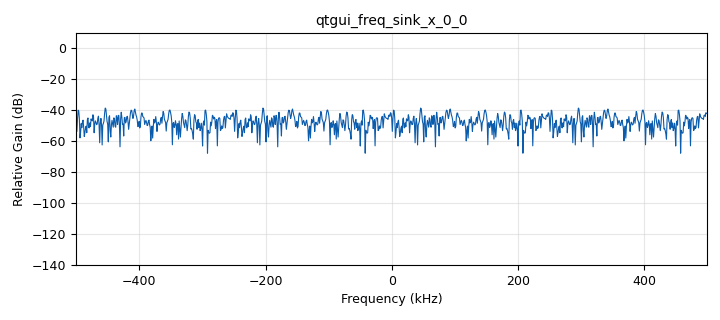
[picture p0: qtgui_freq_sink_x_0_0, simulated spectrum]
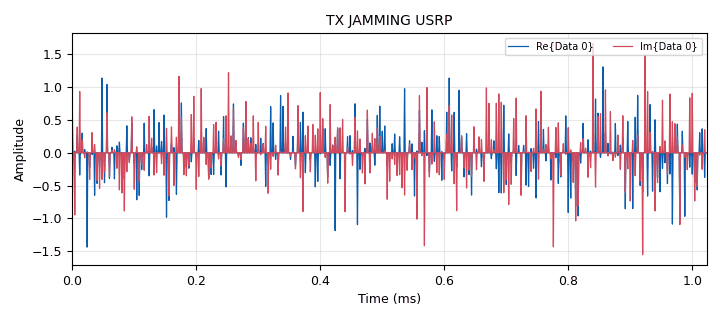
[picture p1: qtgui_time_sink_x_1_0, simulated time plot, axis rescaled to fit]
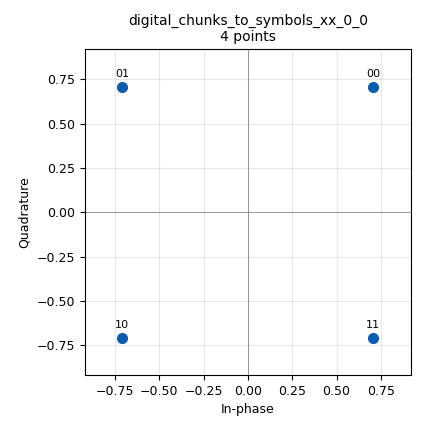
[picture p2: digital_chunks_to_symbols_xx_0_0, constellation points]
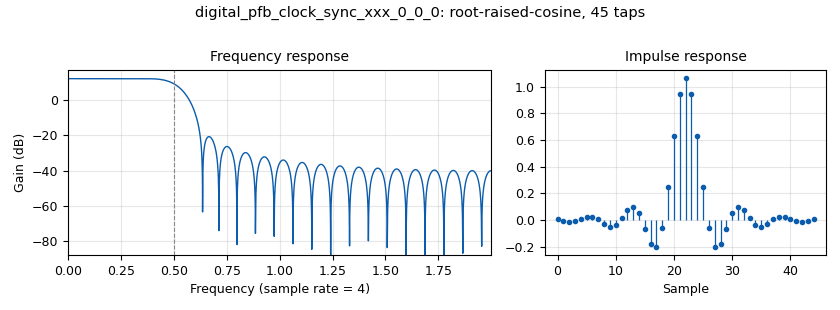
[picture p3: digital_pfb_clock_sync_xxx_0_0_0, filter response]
<?xml version='1.0' encoding='utf-8'?>
<?grc format='1' created='3.7.13'?>
<flow_graph>
<block>
<key>options</key>
<param><key>id</key><value>tutorial_10</value></param>
<param><key>author</key><value>Andre Silva</value></param>
<param><key>generate_options</key><value>qt_gui</value></param>
<param><key>title</key><value>Tutorial</value></param>
</block>
<block>
<key>variable</key>
<param><key>id</key><value>MCR</value></param>
<param><key>value</key><value>"master_clock_rate=60e6"</value></param>
</block>
<block>
<key>variable</key>
<param><key>id</key><value>eb</value></param>
<param><key>value</key><value>0.22</value></param>
</block>
<block>
<key>variable</key>
<param><key>id</key><value>frequencia_usrp</value></param>
<param><key>value</key><value>484e6</value></param>
</block>
<block>
<key>variable</key>
<param><key>id</key><value>k</value></param>
<param><key>value</key><value>7</value></param>
</block>
<block>
<key>variable</key>
<param><key>id</key><value>nfilts</value></param>
<param><key>value</key><value>32</value></param>
</block>
<block>
<key>variable_constellation</key>
<param><key>id</key><value>pld_const</value></param>
<param><key>type</key><value>bpsk</value></param>
<param><key>_enabled</key><value>0</value></param>
<param><key>soft_dec_lut</key><value>'auto'</value></param>
<param><key>precision</key><value>8</value></param>
</block>
<block>
<key>variable_constellation</key>
<param><key>id</key><value>pld_const</value></param>
<param><key>type</key><value>qpsk</value></param>
<param><key>_enabled</key><value>0</value></param>
<param><key>soft_dec_lut</key><value>'auto'</value></param>
<param><key>precision</key><value>8</value></param>
</block>
<block>
<key>variable_constellation</key>
<param><key>id</key><value>pld_const</value></param>
<param><key>const_points</key><value>0.92387+0.38268j, 0.38268+0.92387j,  -0.38268+0.92387j, -0.92387+0.38268j, -0.92387-0.38268j, -0.38268-0.92387j, 0.38268-0.92387j, 0.92387-0.38268j</value></param>
<param><key>type</key><value>calcdist</value></param>
<param><key>dims</key><value>1</value></param>
<param><key>_enabled</key><value>0</value></param>
<param><key>rot_sym</key><value>4</value></param>
<param><key>soft_dec_lut</key><value>'auto'</value></param>
<param><key>precision</key><value>8</value></param>
<param><key>sym_map</key><value>[0, 1, 2, 3, 4, 5, 6, 7]</value></param>
</block>
<block>
<key>variable_constellation_rect</key>
<param><key>id</key><value>pld_const</value></param>
<param><key>const_points</key><value>[0.707+0.707j, -0.707+0.707j, -0.707-0.707j, 0.707-0.707j]</value></param>
<param><key>imag_sect</key><value>2</value></param>
<param><key>real_sect</key><value>2</value></param>
<param><key>rot_sym</key><value>4</value></param>
<param><key>soft_dec_lut</key><value>'auto'</value></param>
<param><key>sym_map</key><value>[0, 1, 2, 3]</value></param>
<param><key>w_imag_sect</key><value>1</value></param>
<param><key>w_real_sect</key><value>1</value></param>
</block>
<block>
<key>variable_cc_decoder_def</key>
<param><key>id</key><value>pld_dec</value></param>
<param><key>padding</key><value>False</value></param>
<param><key>k</key><value>k</value></param>
<param><key>dim1</key><value>8</value></param>
<param><key>state_end</key><value>-1</value></param>
<param><key>framebits</key><value>440</value></param>
<param><key>ndim</key><value>1</value></param>
<param><key>polys</key><value>polys</value></param>
<param><key>rate</key><value>rate</value></param>
<param><key>state_start</key><value>0</value></param>
<param><key>mode</key><value>fec.CC_TERMINATED</value></param>
</block>
<block>
<key>variable_cc_encoder_def</key>
<param><key>id</key><value>pld_enc</value></param>
<param><key>padding</key><value>False</value></param>
<param><key>k</key><value>k</value></param>
<param><key>dim1</key><value>4</value></param>
<param><key>framebits</key><value>440</value></param>
<param><key>ndim</key><value>1</value></param>
<param><key>polys</key><value>polys</value></param>
<param><key>rate</key><value>rate</value></param>
<param><key>state_start</key><value>0</value></param>
<param><key>mode</key><value>fec.CC_TERMINATED</value></param>
</block>
<block>
<key>variable</key>
<param><key>id</key><value>polys</value></param>
<param><key>value</key><value>[109, 79]</value></param>
</block>
<block>
<key>variable</key>
<param><key>id</key><value>rate</value></param>
<param><key>value</key><value>2</value></param>
</block>
<block>
<key>variable_rrc_filter_taps</key>
<param><key>id</key><value>rrc_taps</value></param>
<param><key>alpha</key><value>eb</value></param>
<param><key>gain</key><value>sps</value></param>
<param><key>ntaps</key><value>11*sps</value></param>
<param><key>samp_rate</key><value>sps</value></param>
<param><key>sym_rate</key><value>1.0</value></param>
</block>
<block>
<key>variable_rrc_filter_taps</key>
<param><key>id</key><value>rx_rrc_taps</value></param>
<param><key>_enabled</key><value>0</value></param>
<param><key>alpha</key><value>eb</value></param>
<param><key>gain</key><value>nfilts</value></param>
<param><key>ntaps</key><value>11*sps*nfilts</value></param>
<param><key>samp_rate</key><value>nfilts*sps</value></param>
<param><key>sym_rate</key><value>1.0</value></param>
</block>
<block>
<key>variable_rrc_filter_taps</key>
<param><key>id</key><value>rx_rrc_taps</value></param>
<param><key>_enabled</key><value>0</value></param>
<param><key>alpha</key><value>eb</value></param>
<param><key>gain</key><value>nfilts</value></param>
<param><key>ntaps</key><value>11*sps*nfilts</value></param>
<param><key>samp_rate</key><value>nfilts*sps</value></param>
<param><key>sym_rate</key><value>1.0</value></param>
</block>
<block>
<key>variable</key>
<param><key>id</key><value>samp_rate</value></param>
<param><key>value</key><value>samp_rate_array_MCR[7]</value></param>
</block>
<block>
<key>variable</key>
<param><key>id</key><value>samp_rate_array_MCR</value></param>
<param><key>value</key><value>[7500000,5000000,3750000,3000000,2500000,2000000,1500000,1000000,937500,882352,833333,714285,533333,500000,421052,400000,380952]</value></param>
</block>
<block>
<key>variable</key>
<param><key>id</key><value>sps</value></param>
<param><key>value</key><value>4</value></param>
</block>
<block>
<key>variable_rrc_filter_taps</key>
<param><key>id</key><value>tx_rrc_taps</value></param>
<param><key>_enabled</key><value>0</value></param>
<param><key>alpha</key><value>eb</value></param>
<param><key>gain</key><value>nfilts</value></param>
<param><key>ntaps</key><value>11*sps*nfilts</value></param>
<param><key>samp_rate</key><value>nfilts</value></param>
<param><key>sym_rate</key><value>1.0</value></param>
</block>
<block>
<key>variable_rrc_filter_taps</key>
<param><key>id</key><value>tx_rrc_taps</value></param>
<param><key>_enabled</key><value>0</value></param>
<param><key>alpha</key><value>eb</value></param>
<param><key>gain</key><value>nfilts</value></param>
<param><key>ntaps</key><value>11*sps*nfilts</value></param>
<param><key>samp_rate</key><value>nfilts</value></param>
<param><key>sym_rate</key><value>1.0</value></param>
</block>
<block>
<key>variable_qtgui_entry</key>
<param><key>id</key><value>variable_qtgui_entry_0</value></param>
<param><key>value</key><value>0.7</value></param>
<param><key>label</key><value>mult</value></param>
<param><key>type</key><value>real</value></param>
</block>
<block>
<key>variable_qtgui_range</key>
<param><key>id</key><value>variable_qtgui_range_0</value></param>
<param><key>value</key><value>50</value></param>
<param><key>gui_hint</key><value>0,1</value></param>
<param><key>label</key><value>Gain_TX</value></param>
<param><key>orient</key><value>Qt.Horizontal</value></param>
<param><key>start</key><value>0</value></param>
<param><key>step</key><value>1</value></param>
<param><key>stop</key><value>90</value></param>
</block>
<block>
<key>variable_qtgui_range</key>
<param><key>id</key><value>variable_qtgui_range_0_0</value></param>
<param><key>value</key><value>50</value></param>
<param><key>gui_hint</key><value>0,2</value></param>
<param><key>label</key><value>Gain_Jamming</value></param>
<param><key>orient</key><value>Qt.Horizontal</value></param>
<param><key>start</key><value>0</value></param>
<param><key>step</key><value>1</value></param>
<param><key>stop</key><value>90</value></param>
</block>
<block>
<key>variable_qtgui_range</key>
<param><key>id</key><value>variable_qtgui_range_0_1</value></param>
<param><key>value</key><value>38</value></param>
<param><key>gui_hint</key><value>0,3</value></param>
<param><key>label</key><value>Gain_RX</value></param>
<param><key>orient</key><value>Qt.Horizontal</value></param>
<param><key>start</key><value>0</value></param>
<param><key>step</key><value>1</value></param>
<param><key>stop</key><value>73</value></param>
</block>
<block>
<key>variable_qtgui_range</key>
<param><key>id</key><value>variable_qtgui_range_1</value></param>
<param><key>value</key><value>0</value></param>
<param><key>gui_hint</key><value>0,0</value></param>
<param><key>label</key><value>Delay JAMMING</value></param>
<param><key>min_len</key><value>2000</value></param>
<param><key>orient</key><value>Qt.Horizontal</value></param>
<param><key>start</key><value>0</value></param>
<param><key>step</key><value>1</value></param>
<param><key>stop</key><value>5000</value></param>
<param><key>rangeType</key><value>int</value></param>
</block>
<block>
<key>variable_qtgui_range</key>
<param><key>id</key><value>variable_qtgui_range_1_0</value></param>
<param><key>value</key><value>0</value></param>
<param><key>gui_hint</key><value>1,0</value></param>
<param><key>label</key><value>Delay SIGNAL</value></param>
<param><key>min_len</key><value>2000</value></param>
<param><key>orient</key><value>Qt.Horizontal</value></param>
<param><key>start</key><value>0</value></param>
<param><key>step</key><value>1</value></param>
<param><key>stop</key><value>5000</value></param>
<param><key>rangeType</key><value>int</value></param>
</block>
<block>
<key>variable</key>
<param><key>id</key><value>vector</value></param>
<param><key>value</key><value>[int(random.random()*7) for i in range(49600)]</value></param>
</block>
<block>
<key>blocks_vector_source_x</key>
<param><key>id</key><value>acode_1104</value></param>
<param><key>comment</key><value>64 bits of Access Code +
16 bits of Lenght of the Payload (112 bytes) + 
16 bits of Lenght of the Payload (112 bytes) + 
96 bits of Header</value></param>
<param><key>type</key><value>byte</value></param>
<param><key>repeat</key><value>True</value></param>
<param><key>vector</key><value>[0x1, 0x0, 0x1, 0x0, 0x1, 0x1, 0x0, 0x0, 0x1, 0x1, 0x0, 0x1, 0x1, 0x1, 0x0, 0x1, 0x1, 0x0, 0x1, 0x0, 0x0, 0x1, 0x0, 0x0, 0x1, 0x1, 0x1, 0x0, 0x0, 0x0, 0x1, 0x0, 0x1, 0x1, 0x1, 0x1, 0x0, 0x0, 0x1, 0x0, 0x1, 0x0, 0x0, 0x0, 0x1, 0x1, 0x0, 0x0, 0x0, 0x0, 0x1, 0x0, 0x0, 0x0, 0x0, 0x0, 0x1, 0x1, 0x1, 0x1, 0x1, 0x1, 0x0, 0x0, 0x0, 0x0, 0x0, 0x0, 0x0, 0x0, 0x0, 0x0, 0x0, 0x1, 0x1, 0x1, 0x0, 0x0, 0x0, 0x0, 0x0, 0x0, 0x0, 0x0, 0x0, 0x0, 0x0, 0x0, 0x0, 0x1, 0x1, 0x1, 0x0, 0x0, 0x0, 0x0]</value></param>
</block>
<block>
<key>adapt_lms_filter_xx</key>
<param><key>id</key><value>adapt_lms_filter_xx_0</value></param>
<param><key>adapt</key><value>True</value></param>
<param><key>bypass</key><value>False</value></param>
<param><key>decimation</key><value>1</value></param>
<param><key>filtered_input</key><value>True</value></param>
<param><key>first_input</key><value>True</value></param>
<param><key>num_taps</key><value>64</value></param>
<param><key>reset</key><value>False</value></param>
<param><key>skip</key><value>0</value></param>
<param><key>type</key><value>cc</value></param>
<param><key>mu</key><value>0.001</value></param>
</block>
<block>
<key>analog_fastnoise_source_x</key>
<param><key>id</key><value>analog_fastnoise_source_x_0</value></param>
<param><key>amp</key><value>1</value></param>
<param><key>_enabled</key><value>0</value></param>
<param><key>noise_type</key><value>analog.GR_GAUSSIAN</value></param>
<param><key>type</key><value>complex</value></param>
<param><key>seed</key><value>0</value></param>
<param><key>samples</key><value>8192</value></param>
</block>
<block>
<key>analog_noise_source_x</key>
<param><key>id</key><value>analog_noise_source_x_0</value></param>
<param><key>amp</key><value>1.0</value></param>
<param><key>noise_type</key><value>analog.GR_GAUSSIAN</value></param>
<param><key>type</key><value>complex</value></param>
<param><key>seed</key><value>0</value></param>
</block>
<block>
<key>blocks_char_to_float</key>
<param><key>id</key><value>blocks_char_to_float_1_0_0</value></param>
<param><key>_enabled</key><value>0</value></param>
<param><key>scale</key><value>1</value></param>
</block>
<block>
<key>blocks_char_to_float</key>
<param><key>id</key><value>blocks_char_to_float_1_0_1</value></param>
<param><key>scale</key><value>1</value></param>
</block>
<block>
<key>blocks_char_to_float</key>
<param><key>id</key><value>blocks_char_to_float_1_0_1_0</value></param>
<param><key>_enabled</key><value>0</value></param>
<param><key>scale</key><value>1</value></param>
</block>
<block>
<key>blocks_delay</key>
<param><key>id</key><value>blocks_delay_0_0</value></param>
<param><key>delay</key><value>variable_qtgui_range_1_0</value></param>
<param><key>type</key><value>complex</value></param>
</block>
<block>
<key>blocks_file_sink</key>
<param><key>id</key><value>blocks_file_sink_0_0_0_2</value></param>
<param><key>file</key><value>/home/andre/Desktop/Trasmited/depois.txt</value></param>
<param><key>type</key><value>byte</value></param>
</block>
<block>
<key>blocks_file_source</key>
<param><key>id</key><value>blocks_file_source_0_0_1_0</value></param>
<param><key>file</key><value>/home/andre/Desktop/Files_To_Transmit/trasmit_10_mb.txt</value></param>
<param><key>type</key><value>byte</value></param>
<param><key>repeat</key><value>False</value></param>
</block>
<block>
<key>blocks_file_source</key>
<param><key>id</key><value>blocks_file_source_0_0_1_0_0</value></param>
<param><key>_enabled</key><value>0</value></param>
<param><key>file</key><value>/home/andre/Desktop/Files_To_Transmit/videofhd.mpg</value></param>
<param><key>type</key><value>byte</value></param>
<param><key>repeat</key><value>False</value></param>
</block>
<block>
<key>blocks_file_source</key>
<param><key>id</key><value>blocks_file_source_0_0_1_0_0_0</value></param>
<param><key>_enabled</key><value>0</value></param>
<param><key>file</key><value>/home/andre/Desktop/Files_To_Transmit/video_lion.mpeg</value></param>
<param><key>type</key><value>byte</value></param>
<param><key>repeat</key><value>False</value></param>
</block>
<block>
<key>blocks_multiply_const_vxx</key>
<param><key>id</key><value>blocks_multiply_const_vxx_1</value></param>
<param><key>const</key><value>0.7</value></param>
<param><key>type</key><value>complex</value></param>
</block>
<block>
<key>blocks_multiply_const_vxx</key>
<param><key>id</key><value>blocks_multiply_const_vxx_1_0</value></param>
<param><key>const</key><value>variable_qtgui_entry_0</value></param>
<param><key>type</key><value>complex</value></param>
</block>
<block>
<key>blocks_repack_bits_bb</key>
<param><key>id</key><value>blocks_repack_bits_bb_0</value></param>
<param><key>k</key><value>pld_const.bits_per_symbol()</value></param>
<param><key>l</key><value>1</value></param>
<param><key>endianness</key><value>gr.GR_MSB_FIRST</value></param>
<param><key>len_tag_key</key><value></value></param>
</block>
<block>
<key>blocks_repack_bits_bb</key>
<param><key>id</key><value>blocks_repack_bits_bb_0_0</value></param>
<param><key>k</key><value>1</value></param>
<param><key>l</key><value>8</value></param>
<param><key>endianness</key><value>gr.GR_MSB_FIRST</value></param>
<param><key>len_tag_key</key><value></value></param>
</block>
<block>
<key>blocks_repack_bits_bb</key>
<param><key>id</key><value>blocks_repack_bits_bb_0_0_0</value></param>
<param><key>k</key><value>1</value></param>
<param><key>l</key><value>8</value></param>
<param><key>_enabled</key><value>0</value></param>
<param><key>endianness</key><value>gr.GR_MSB_FIRST</value></param>
<param><key>len_tag_key</key><value></value></param>
</block>
<block>
<key>blocks_repack_bits_bb</key>
<param><key>id</key><value>blocks_repack_bits_bb_0_1</value></param>
<param><key>k</key><value>1</value></param>
<param><key>l</key><value>pld_const.bits_per_symbol()</value></param>
<param><key>endianness</key><value>gr.GR_MSB_FIRST</value></param>
<param><key>len_tag_key</key><value></value></param>
</block>
<block>
<key>blocks_repack_bits_bb</key>
<param><key>id</key><value>blocks_repack_bits_bb_0_2</value></param>
<param><key>k</key><value>pld_const.bits_per_symbol()</value></param>
<param><key>l</key><value>1</value></param>
<param><key>_enabled</key><value>0</value></param>
<param><key>endianness</key><value>gr.GR_MSB_FIRST</value></param>
<param><key>len_tag_key</key><value></value></param>
</block>
<block>
<key>blocks_repack_bits_bb</key>
<param><key>id</key><value>blocks_repack_bits_bb_1_0_0_1</value></param>
<param><key>k</key><value>8</value></param>
<param><key>l</key><value>1</value></param>
<param><key>endianness</key><value>gr.GR_MSB_FIRST</value></param>
<param><key>len_tag_key</key><value></value></param>
</block>
<block>
<key>blocks_stream_mux</key>
<param><key>id</key><value>blocks_stream_mux_0_1_0</value></param>
<param><key>comment</key><value>96 bits of Header + 1104
 (138
 bytes) of payload</value></param>
<param><key>lengths</key><value>96, 896</value></param>
<param><key>type</key><value>byte</value></param>
</block>
<block>
<key>correlate_and_delay_corr_and_delay</key>
<param><key>id</key><value>correlate_and_delay_corr_and_delay_0</value></param>
<param><key>interval</key><value>0</value></param>
<param><key>number_bits</key><value>100</value></param>
<param><key>threshold</key><value>99</value></param>
</block>
<block>
<key>blocks_delay</key>
<param><key>id</key><value>delay</value></param>
<param><key>delay</key><value>variable_qtgui_range_1</value></param>
<param><key>type</key><value>complex</value></param>
</block>
<block>
<key>digital_chunks_to_symbols_xx</key>
<param><key>id</key><value>digital_chunks_to_symbols_xx_0_0</value></param>
<param><key>dimension</key><value>1</value></param>
<param><key>in_type</key><value>byte</value></param>
<param><key>out_type</key><value>complex</value></param>
<param><key>symbol_table</key><value>pld_const.points()</value></param>
</block>
<block>
<key>digital_constellation_decoder_cb</key>
<param><key>id</key><value>digital_constellation_decoder_cb_0_0</value></param>
<param><key>constellation</key><value>pld_const</value></param>
</block>
<block>
<key>digital_constellation_decoder_cb</key>
<param><key>id</key><value>digital_constellation_decoder_cb_0_0_0</value></param>
<param><key>constellation</key><value>pld_const</value></param>
<param><key>_enabled</key><value>0</value></param>
</block>
<block>
<key>digital_correlate_access_code_xx_ts</key>
<param><key>id</key><value>digital_correlate_access_code_xx_ts_0_0</value></param>
<param><key>access_code</key><value>digital.packet_utils.default_access_code</value></param>
<param><key>type</key><value>byte</value></param>
<param><key>tagname</key><value>packet_len</value></param>
<param><key>threshold</key><value>1</value></param>
</block>
<block>
<key>digital_correlate_access_code_xx_ts</key>
<param><key>id</key><value>digital_correlate_access_code_xx_ts_0_0_0</value></param>
<param><key>access_code</key><value>digital.packet_utils.default_access_code</value></param>
<param><key>_enabled</key><value>0</value></param>
<param><key>type</key><value>byte</value></param>
<param><key>tagname</key><value>packet_len</value></param>
<param><key>threshold</key><value>1</value></param>
</block>
<block>
<key>digital_costas_loop_cc</key>
<param><key>id</key><value>digital_costas_loop_cc_0</value></param>
<param><key>w</key><value>6.28/100</value></param>
<param><key>order</key><value>4</value></param>
</block>
<block>
<key>digital_costas_loop_cc</key>
<param><key>id</key><value>digital_costas_loop_cc_0_0</value></param>
<param><key>_enabled</key><value>0</value></param>
<param><key>w</key><value>6.28/100</value></param>
<param><key>order</key><value>4</value></param>
</block>
<block>
<key>digital_costas_loop_cc</key>
<param><key>id</key><value>digital_costas_loop_cc_0_1</value></param>
<param><key>_enabled</key><value>0</value></param>
<param><key>w</key><value>6.28/100</value></param>
<param><key>order</key><value>4</value></param>
</block>
<block>
<key>digital_costas_loop_cc</key>
<param><key>id</key><value>digital_costas_loop_cc_0_2</value></param>
<param><key>_enabled</key><value>0</value></param>
<param><key>w</key><value>6.28/100</value></param>
<param><key>order</key><value>4</value></param>
</block>
<block>
<key>digital_diff_decoder_bb</key>
<param><key>id</key><value>digital_diff_decoder_bb_0</value></param>
<param><key>modulus</key><value>pld_const.arity()</value></param>
</block>
<block>
<key>digital_diff_decoder_bb</key>
<param><key>id</key><value>digital_diff_decoder_bb_0_0</value></param>
<param><key>_enabled</key><value>0</value></param>
<param><key>modulus</key><value>pld_const.arity()</value></param>
</block>
<block>
<key>digital_diff_encoder_bb</key>
<param><key>id</key><value>digital_diff_encoder_bb_0</value></param>
<param><key>modulus</key><value>pld_const.arity()</value></param>
</block>
<block>
<key>digital_pfb_clock_sync_xxx</key>
<param><key>id</key><value>digital_pfb_clock_sync_xxx_0</value></param>
<param><key>comment</key><value>ORIGINAL</value></param>
<param><key>_enabled</key><value>0</value></param>
<param><key>filter_size</key><value>nfilts</value></param>
<param><key>init_phase</key><value>nfilts/2</value></param>
<param><key>loop_bw</key><value>6.28/100.0</value></param>
<param><key>max_dev</key><value>2.5</value></param>
<param><key>osps</key><value>1</value></param>
<param><key>sps</key><value>sps</value></param>
<param><key>taps</key><value>rx_rrc_taps</value></param>
<param><key>type</key><value>ccf</value></param>
</block>
<block>
<key>digital_pfb_clock_sync_xxx</key>
<param><key>id</key><value>digital_pfb_clock_sync_xxx_0_0_0</value></param>
<param><key>filter_size</key><value>sps</value></param>
<param><key>init_phase</key><value>sps/2</value></param>
<param><key>loop_bw</key><value>6.28/100.0</value></param>
<param><key>max_dev</key><value>1.5</value></param>
<param><key>osps</key><value>1</value></param>
<param><key>sps</key><value>sps</value></param>
<param><key>taps</key><value>rrc_taps</value></param>
<param><key>type</key><value>ccf</value></param>
</block>
<block>
<key>digital_pfb_clock_sync_xxx</key>
<param><key>id</key><value>digital_pfb_clock_sync_xxx_0_0_0_0</value></param>
<param><key>_enabled</key><value>0</value></param>
<param><key>filter_size</key><value>sps</value></param>
<param><key>init_phase</key><value>sps/2</value></param>
<param><key>loop_bw</key><value>6.28/100.0</value></param>
<param><key>max_dev</key><value>1.5</value></param>
<param><key>osps</key><value>1</value></param>
<param><key>sps</key><value>sps</value></param>
<param><key>taps</key><value>rrc_taps</value></param>
<param><key>type</key><value>ccf</value></param>
</block>
<block>
<key>import</key>
<param><key>id</key><value>import_0</value></param>
<param><key>import</key><value>import random</value></param>
</block>
<block>
<key>insert_vec_cpp_new_vec</key>
<param><key>id</key><value>insert_vec_cpp_new_vec_0</value></param>
<param><key>vec</key><value>vector</value></param>
</block>
<block>
<key>interp_fir_filter_xxx</key>
<param><key>id</key><value>interp_fir_filter_xxx_0</value></param>
<param><key>interp</key><value>sps</value></param>
<param><key>taps</key><value>rrc_taps</value></param>
<param><key>type</key><value>ccc</value></param>
</block>
<block>
<key>interp_fir_filter_xxx</key>
<param><key>id</key><value>interp_fir_filter_xxx_1</value></param>
<param><key>interp</key><value>4</value></param>
<param><key>taps</key><value>[1]</value></param>
<param><key>type</key><value>ccc</value></param>
</block>
<block>
<key>pfb_arb_resampler_xxx</key>
<param><key>id</key><value>pfb_arb_resampler_xxx_0</value></param>
<param><key>comment</key><value>https://wiki.gnuradio.org/index.php/Polyphase_Arbitrary_Resampler</value></param>
<param><key>_enabled</key><value>0</value></param>
<param><key>nfilts</key><value>nfilts</value></param>
<param><key>rrate</key><value>sps</value></param>
<param><key>atten</key><value>100</value></param>
<param><key>taps</key><value>tx_rrc_taps</value></param>
<param><key>type</key><value>ccc</value></param>
</block>
<block>
<key>parameter</key>
<param><key>id</key><value>puncpat</value></param>
<param><key>type</key><value>string</value></param>
<param><key>value</key><value>'11'</value></param>
</block>
<block>
<key>qtgui_const_sink_x</key>
<param><key>id</key><value>qtgui_const_sink_x_0_0_0_0</value></param>
<param><key>gui_hint</key><value>1,1</value></param>
<param><key>name</key><value>"TX Constellation"</value></param>
<param><key>size</key><value>1024</value></param>
<param><key>type</key><value>complex</value></param>
</block>
<block>
<key>qtgui_const_sink_x</key>
<param><key>id</key><value>qtgui_const_sink_x_0_0_0_1_0</value></param>
<param><key>gui_hint</key><value>2,2</value></param>
<param><key>name</key><value>"RX Treated Constellation"</value></param>
<param><key>size</key><value>1024</value></param>
<param><key>type</key><value>complex</value></param>
</block>
<block>
<key>qtgui_const_sink_x</key>
<param><key>id</key><value>qtgui_const_sink_x_0_0_0_1_0_0</value></param>
<param><key>_enabled</key><value>0</value></param>
<param><key>gui_hint</key><value>2,1</value></param>
<param><key>label1</key><value>Ouput</value></param>
<param><key>label2</key><value>Erro</value></param>
<param><key>name</key><value>"RX Compare Constellation"</value></param>
<param><key>nconnections</key><value>2</value></param>
<param><key>size</key><value>1024</value></param>
<param><key>type</key><value>complex</value></param>
</block>
<block>
<key>qtgui_const_sink_x</key>
<param><key>id</key><value>qtgui_const_sink_x_0_0_0_1_0_1</value></param>
<param><key>_enabled</key><value>0</value></param>
<param><key>gui_hint</key><value>4,2</value></param>
<param><key>name</key><value>"RX Treated Constellation"</value></param>
<param><key>size</key><value>1024</value></param>
<param><key>type</key><value>complex</value></param>
</block>
<block>
<key>qtgui_freq_sink_x</key>
<param><key>id</key><value>qtgui_freq_sink_x_0</value></param>
<param><key>bw</key><value>samp_rate</value></param>
<param><key>fc</key><value>0</value></param>
<param><key>_enabled</key><value>0</value></param>
<param><key>fftsize</key><value>1024</value></param>
<param><key>showports</key><value>True</value></param>
<param><key>type</key><value>complex</value></param>
<param><key>wintype</key><value>firdes.WIN_BLACKMAN_hARRIS</value></param>
</block>
<block>
<key>qtgui_freq_sink_x</key>
<param><key>id</key><value>qtgui_freq_sink_x_0_0</value></param>
<param><key>bw</key><value>samp_rate</value></param>
<param><key>fc</key><value>0</value></param>
<param><key>fftsize</key><value>1024</value></param>
<param><key>gui_hint</key><value>10,2</value></param>
<param><key>showports</key><value>True</value></param>
<param><key>type</key><value>complex</value></param>
<param><key>wintype</key><value>firdes.WIN_BLACKMAN_hARRIS</value></param>
</block>
<block>
<key>qtgui_freq_sink_x</key>
<param><key>id</key><value>qtgui_freq_sink_x_0_0_1</value></param>
<param><key>bw</key><value>samp_rate</value></param>
<param><key>fc</key><value>0</value></param>
<param><key>fftsize</key><value>1024</value></param>
<param><key>gui_hint</key><value>5,1,1,3</value></param>
<param><key>label1</key><value>After chunks to symbols</value></param>
<param><key>label2</key><value>after out lms</value></param>
<param><key>nconnections</key><value>2</value></param>
<param><key>showports</key><value>True</value></param>
<param><key>type</key><value>complex</value></param>
<param><key>wintype</key><value>firdes.WIN_BLACKMAN_hARRIS</value></param>
</block>
<block>
<key>qtgui_freq_sink_x</key>
<param><key>id</key><value>qtgui_freq_sink_x_1</value></param>
<param><key>bw</key><value>samp_rate</value></param>
<param><key>fc</key><value>0</value></param>
<param><key>_enabled</key><value>0</value></param>
<param><key>fftsize</key><value>1024</value></param>
<param><key>gui_hint</key><value>4,1,1,3</value></param>
<param><key>color1</key><value>"black"</value></param>
<param><key>label1</key><value>OUT</value></param>
<param><key>label2</key><value>ERROR</value></param>
<param><key>nconnections</key><value>2</value></param>
<param><key>showports</key><value>True</value></param>
<param><key>type</key><value>complex</value></param>
<param><key>wintype</key><value>firdes.WIN_BLACKMAN_hARRIS</value></param>
</block>
<block>
<key>qtgui_freq_sink_x</key>
<param><key>id</key><value>qtgui_freq_sink_x_2</value></param>
<param><key>bw</key><value>samp_rate</value></param>
<param><key>fc</key><value>0</value></param>
<param><key>fftsize</key><value>1024</value></param>
<param><key>gui_hint</key><value>20,1</value></param>
<param><key>showports</key><value>True</value></param>
<param><key>type</key><value>complex</value></param>
<param><key>wintype</key><value>firdes.WIN_BLACKMAN_hARRIS</value></param>
</block>
<block>
<key>qtgui_time_sink_x</key>
<param><key>id</key><value>qtgui_time_sink_x_0_0</value></param>
<param><key>_enabled</key><value>0</value></param>
<param><key>gui_hint</key><value>1,1</value></param>
<param><key>grid</key><value>True</value></param>
<param><key>color1</key><value>"blue"</value></param>
<param><key>label1</key><value></value></param>
<param><key>name</key><value>Tx Data</value></param>
<param><key>size</key><value>100*2</value></param>
<param><key>srate</key><value>samp_rate</value></param>
<param><key>tr_tag</key><value>packet_length_tag_key</value></param>
<param><key>type</key><value>float</value></param>
<param><key>ymax</key><value>256</value></param>
</block>
<block>
<key>qtgui_time_sink_x</key>
<param><key>id</key><value>qtgui_time_sink_x_0_1</value></param>
<param><key>autoscale</key><value>True</value></param>
<param><key>gui_hint</key><value>2,3</value></param>
<param><key>grid</key><value>True</value></param>
<param><key>color1</key><value>"blue"</value></param>
<param><key>label1</key><value></value></param>
<param><key>name</key><value>Rx Data</value></param>
<param><key>size</key><value>100*2</value></param>
<param><key>srate</key><value>samp_rate</value></param>
<param><key>tr_tag</key><value>packet_length_tag_key</value></param>
<param><key>type</key><value>float</value></param>
<param><key>ymax</key><value>256</value></param>
</block>
<block>
<key>qtgui_time_sink_x</key>
<param><key>id</key><value>qtgui_time_sink_x_0_1_0</value></param>
<param><key>autoscale</key><value>True</value></param>
<param><key>_enabled</key><value>0</value></param>
<param><key>gui_hint</key><value>4,3</value></param>
<param><key>grid</key><value>True</value></param>
<param><key>color1</key><value>"blue"</value></param>
<param><key>label1</key><value></value></param>
<param><key>name</key><value>Rx Data SEM LMS</value></param>
<param><key>size</key><value>100*2</value></param>
<param><key>srate</key><value>samp_rate</value></param>
<param><key>tr_tag</key><value>packet_length_tag_key</value></param>
<param><key>type</key><value>float</value></param>
<param><key>ymax</key><value>256</value></param>
</block>
<block>
<key>qtgui_time_sink_x</key>
<param><key>id</key><value>qtgui_time_sink_x_1</value></param>
<param><key>gui_hint</key><value>1,2</value></param>
<param><key>color1</key><value>"blue"</value></param>
<param><key>label1</key><value></value></param>
<param><key>color2</key><value>"red"</value></param>
<param><key>label2</key><value></value></param>
<param><key>name</key><value>"TX DATA USRP"</value></param>
<param><key>size</key><value>1024</value></param>
<param><key>srate</key><value>samp_rate</value></param>
<param><key>type</key><value>complex</value></param>
</block>
<block>
<key>qtgui_time_sink_x</key>
<param><key>id</key><value>qtgui_time_sink_x_1_0</value></param>
<param><key>gui_hint</key><value>1,3</value></param>
<param><key>color1</key><value>"blue"</value></param>
<param><key>label1</key><value></value></param>
<param><key>color2</key><value>"red"</value></param>
<param><key>label2</key><value></value></param>
<param><key>name</key><value>"TX JAMMING USRP"</value></param>
<param><key>size</key><value>1024</value></param>
<param><key>srate</key><value>samp_rate</value></param>
<param><key>type</key><value>complex</value></param>
</block>
<block>
<key>qtgui_time_sink_x</key>
<param><key>id</key><value>qtgui_time_sink_x_1_1</value></param>
<param><key>gui_hint</key><value>2,1</value></param>
<param><key>color1</key><value>"blue"</value></param>
<param><key>label1</key><value></value></param>
<param><key>color2</key><value>"red"</value></param>
<param><key>label2</key><value></value></param>
<param><key>name</key><value>"RX USRP"</value></param>
<param><key>size</key><value>1024</value></param>
<param><key>srate</key><value>samp_rate</value></param>
<param><key>type</key><value>complex</value></param>
</block>
<block>
<key>uhd_usrp_sink</key>
<param><key>id</key><value>uhd_usrp_sink_0</value></param>
<param><key>ant0</key><value>TX/RX</value></param>
<param><key>center_freq0</key><value>frequencia_usrp</value></param>
<param><key>norm_gain0</key><value>False</value></param>
<param><key>gain0</key><value>variable_qtgui_range_0_0</value></param>
<param><key>clock_rate</key><value>0.0</value></param>
<param><key>dev_addr</key><value>"serial=F5EAC0"</value></param>
<param><key>dev_args</key><value>""</value></param>
<param><key>type</key><value>fc32</value></param>
<param><key>samp_rate</key><value>samp_rate</value></param>
<param><key>hide_cmd_port</key><value>False</value></param>
<param><key>hide_lo_controls</key><value>True</value></param>
<param><key>sync</key><value>pc_clock</value></param>
<param><key>len_tag_name</key><value></value></param>
</block>
<block>
<key>uhd_usrp_sink</key>
<param><key>id</key><value>uhd_usrp_sink_0_0</value></param>
<param><key>ant0</key><value>TX/RX</value></param>
<param><key>center_freq0</key><value>frequencia_usrp</value></param>
<param><key>norm_gain0</key><value>False</value></param>
<param><key>gain0</key><value>variable_qtgui_range_0</value></param>
<param><key>clock_rate</key><value>0.0</value></param>
<param><key>dev_addr</key><value>"serial=F5EAE1"</value></param>
<param><key>dev_args</key><value>MCR</value></param>
<param><key>type</key><value>fc32</value></param>
<param><key>samp_rate</key><value>samp_rate</value></param>
<param><key>hide_cmd_port</key><value>False</value></param>
<param><key>hide_lo_controls</key><value>True</value></param>
<param><key>sync</key><value>pc_clock</value></param>
<param><key>len_tag_name</key><value></value></param>
</block>
<block>
<key>uhd_usrp_source</key>
<param><key>id</key><value>uhd_usrp_source_0</value></param>
<param><key>ant0</key><value>RX2</value></param>
<param><key>center_freq0</key><value>frequencia_usrp</value></param>
<param><key>dc_offs_enb0</key><value>True</value></param>
<param><key>iq_imbal_enb0</key><value>True</value></param>
<param><key>norm_gain0</key><value>False</value></param>
<param><key>gain0</key><value>variable_qtgui_range_0_1</value></param>
<param><key>clock_rate</key><value>0.0</value></param>
<param><key>dev_addr</key><value>"serial=F5EAC0"</value></param>
<param><key>dev_args</key><value>MCR</value></param>
<param><key>type</key><value>fc32</value></param>
<param><key>samp_rate</key><value>samp_rate</value></param>
<param><key>hide_cmd_port</key><value>False</value></param>
<param><key>hide_lo_controls</key><value>True</value></param>
<param><key>sync</key><value>pc_clock</value></param>
</block>
<block>
<key>virtual_sink</key>
<param><key>id</key><value>virtual_sink_0</value></param>
<param><key>_enabled</key><value>0</value></param>
<param><key>stream_id</key><value>signal</value></param>
</block>
<block>
<key>virtual_sink</key>
<param><key>id</key><value>virtual_sink_1</value></param>
<param><key>stream_id</key><value>packet</value></param>
</block>
<block>
<key>virtual_sink</key>
<param><key>id</key><value>virtual_sink_2</value></param>
<param><key>stream_id</key><value>data_treated</value></param>
</block>
<block>
<key>virtual_sink</key>
<param><key>id</key><value>virtual_sink_3</value></param>
<param><key>stream_id</key><value>packet_recived</value></param>
</block>
<block>
<key>virtual_source</key>
<param><key>id</key><value>virtual_source_1</value></param>
<param><key>stream_id</key><value>packet</value></param>
</block>
<block>
<key>virtual_source</key>
<param><key>id</key><value>virtual_source_2</value></param>
<param><key>stream_id</key><value>data_treated</value></param>
</block>
<block>
<key>virtual_source</key>
<param><key>id</key><value>virtual_source_3</value></param>
<param><key>stream_id</key><value>packet_recived</value></param>
</block>
<connection><source_block_id>acode_1104</source_block_id><sink_block_id>blocks_stream_mux_0_1_0</sink_block_id><source_key>0</source_key><sink_key>0</sink_key></connection>
<connection><source_block_id>adapt_lms_filter_xx_0</source_block_id><sink_block_id>digital_pfb_clock_sync_xxx_0_0_0</sink_block_id><source_key>1</source_key><sink_key>0</sink_key></connection>
<connection><source_block_id>adapt_lms_filter_xx_0</source_block_id><sink_block_id>digital_costas_loop_cc_0_0</sink_block_id><source_key>0</source_key><sink_key>0</sink_key></connection>
<connection><source_block_id>adapt_lms_filter_xx_0</source_block_id><sink_block_id>qtgui_freq_sink_x_2</sink_block_id><source_key>0</source_key><sink_key>0</sink_key></connection>
<connection><source_block_id>analog_fastnoise_source_x_0</source_block_id><sink_block_id>interp_fir_filter_xxx_1</sink_block_id><source_key>0</source_key><sink_key>0</sink_key></connection>
<connection><source_block_id>analog_noise_source_x_0</source_block_id><sink_block_id>interp_fir_filter_xxx_1</sink_block_id><source_key>0</source_key><sink_key>0</sink_key></connection>
<connection><source_block_id>blocks_char_to_float_1_0_0</source_block_id><sink_block_id>qtgui_time_sink_x_0_0</sink_block_id><source_key>0</source_key><sink_key>0</sink_key></connection>
<connection><source_block_id>blocks_char_to_float_1_0_1</source_block_id><sink_block_id>qtgui_time_sink_x_0_1</sink_block_id><source_key>0</source_key><sink_key>0</sink_key></connection>
<connection><source_block_id>blocks_char_to_float_1_0_1_0</source_block_id><sink_block_id>qtgui_time_sink_x_0_1_0</sink_block_id><source_key>0</source_key><sink_key>0</sink_key></connection>
<connection><source_block_id>blocks_delay_0_0</source_block_id><sink_block_id>correlate_and_delay_corr_and_delay_0</sink_block_id><source_key>0</source_key><sink_key>1</sink_key></connection>
<connection><source_block_id>blocks_file_source_0_0_1_0</source_block_id><sink_block_id>blocks_char_to_float_1_0_0</sink_block_id><source_key>0</source_key><sink_key>0</sink_key></connection>
<connection><source_block_id>blocks_file_source_0_0_1_0</source_block_id><sink_block_id>blocks_repack_bits_bb_1_0_0_1</sink_block_id><source_key>0</source_key><sink_key>0</sink_key></connection>
<connection><source_block_id>blocks_file_source_0_0_1_0_0</source_block_id><sink_block_id>blocks_char_to_float_1_0_0</sink_block_id><source_key>0</source_key><sink_key>0</sink_key></connection>
<connection><source_block_id>blocks_file_source_0_0_1_0_0</source_block_id><sink_block_id>blocks_repack_bits_bb_1_0_0_1</sink_block_id><source_key>0</source_key><sink_key>0</sink_key></connection>
<connection><source_block_id>blocks_file_source_0_0_1_0_0_0</source_block_id><sink_block_id>blocks_char_to_float_1_0_0</sink_block_id><source_key>0</source_key><sink_key>0</sink_key></connection>
<connection><source_block_id>blocks_file_source_0_0_1_0_0_0</source_block_id><sink_block_id>blocks_repack_bits_bb_1_0_0_1</sink_block_id><source_key>0</source_key><sink_key>0</sink_key></connection>
<connection><source_block_id>blocks_multiply_const_vxx_1</source_block_id><sink_block_id>qtgui_const_sink_x_0_0_0_0</sink_block_id><source_key>0</source_key><sink_key>0</sink_key></connection>
<connection><source_block_id>blocks_multiply_const_vxx_1</source_block_id><sink_block_id>qtgui_freq_sink_x_0</sink_block_id><source_key>0</source_key><sink_key>0</sink_key></connection>
<connection><source_block_id>blocks_multiply_const_vxx_1</source_block_id><sink_block_id>qtgui_time_sink_x_1</sink_block_id><source_key>0</source_key><sink_key>0</sink_key></connection>
<connection><source_block_id>blocks_multiply_const_vxx_1</source_block_id><sink_block_id>uhd_usrp_sink_0_0</sink_block_id><source_key>0</source_key><sink_key>0</sink_key></connection>
<connection><source_block_id>blocks_multiply_const_vxx_1</source_block_id><sink_block_id>virtual_sink_0</sink_block_id><source_key>0</source_key><sink_key>0</sink_key></connection>
<connection><source_block_id>blocks_multiply_const_vxx_1_0</source_block_id><sink_block_id>delay</sink_block_id><source_key>0</source_key><sink_key>0</sink_key></connection>
<connection><source_block_id>blocks_multiply_const_vxx_1_0</source_block_id><sink_block_id>qtgui_freq_sink_x_0_0</sink_block_id><source_key>0</source_key><sink_key>0</sink_key></connection>
<connection><source_block_id>blocks_multiply_const_vxx_1_0</source_block_id><sink_block_id>qtgui_time_sink_x_1_0</sink_block_id><source_key>0</source_key><sink_key>0</sink_key></connection>
<connection><source_block_id>blocks_multiply_const_vxx_1_0</source_block_id><sink_block_id>uhd_usrp_sink_0</sink_block_id><source_key>0</source_key><sink_key>0</sink_key></connection>
<connection><source_block_id>blocks_repack_bits_bb_0</source_block_id><sink_block_id>digital_correlate_access_code_xx_ts_0_0</sink_block_id><source_key>0</source_key><sink_key>0</sink_key></connection>
<connection><source_block_id>blocks_repack_bits_bb_0_0</source_block_id><sink_block_id>blocks_char_to_float_1_0_1</sink_block_id><source_key>0</source_key><sink_key>0</sink_key></connection>
<connection><source_block_id>blocks_repack_bits_bb_0_0</source_block_id><sink_block_id>blocks_file_sink_0_0_0_2</sink_block_id><source_key>0</source_key><sink_key>0</sink_key></connection>
<connection><source_block_id>blocks_repack_bits_bb_0_0_0</source_block_id><sink_block_id>blocks_char_to_float_1_0_1_0</sink_block_id><source_key>0</source_key><sink_key>0</sink_key></connection>
<connection><source_block_id>blocks_repack_bits_bb_0_1</source_block_id><sink_block_id>insert_vec_cpp_new_vec_0</sink_block_id><source_key>0</source_key><sink_key>0</sink_key></connection>
<connection><source_block_id>blocks_repack_bits_bb_0_2</source_block_id><sink_block_id>digital_correlate_access_code_xx_ts_0_0_0</sink_block_id><source_key>0</source_key><sink_key>0</sink_key></connection>
<connection><source_block_id>blocks_repack_bits_bb_1_0_0_1</source_block_id><sink_block_id>blocks_stream_mux_0_1_0</sink_block_id><source_key>0</source_key><sink_key>1</sink_key></connection>
<connection><source_block_id>blocks_stream_mux_0_1_0</source_block_id><sink_block_id>virtual_sink_1</sink_block_id><source_key>0</source_key><sink_key>0</sink_key></connection>
<connection><source_block_id>correlate_and_delay_corr_and_delay_0</source_block_id><sink_block_id>adapt_lms_filter_xx_0</sink_block_id><source_key>0</source_key><sink_key>1</sink_key></connection>
<connection><source_block_id>correlate_and_delay_corr_and_delay_0</source_block_id><sink_block_id>adapt_lms_filter_xx_0</sink_block_id><source_key>1</source_key><sink_key>0</sink_key></connection>
<connection><source_block_id>delay</source_block_id><sink_block_id>correlate_and_delay_corr_and_delay_0</sink_block_id><source_key>0</source_key><sink_key>0</sink_key></connection>
<connection><source_block_id>digital_chunks_to_symbols_xx_0_0</source_block_id><sink_block_id>interp_fir_filter_xxx_0</sink_block_id><source_key>0</source_key><sink_key>0</sink_key></connection>
<connection><source_block_id>digital_chunks_to_symbols_xx_0_0</source_block_id><sink_block_id>pfb_arb_resampler_xxx_0</sink_block_id><source_key>0</source_key><sink_key>0</sink_key></connection>
<connection><source_block_id>digital_chunks_to_symbols_xx_0_0</source_block_id><sink_block_id>qtgui_freq_sink_x_0_0_1</sink_block_id><source_key>0</source_key><sink_key>0</sink_key></connection>
<connection><source_block_id>digital_constellation_decoder_cb_0_0</source_block_id><sink_block_id>virtual_sink_2</sink_block_id><source_key>0</source_key><sink_key>0</sink_key></connection>
<connection><source_block_id>digital_constellation_decoder_cb_0_0_0</source_block_id><sink_block_id>digital_diff_decoder_bb_0_0</sink_block_id><source_key>0</source_key><sink_key>0</sink_key></connection>
<connection><source_block_id>digital_correlate_access_code_xx_ts_0_0</source_block_id><sink_block_id>virtual_sink_3</sink_block_id><source_key>0</source_key><sink_key>0</sink_key></connection>
<connection><source_block_id>digital_correlate_access_code_xx_ts_0_0_0</source_block_id><sink_block_id>blocks_repack_bits_bb_0_0_0</sink_block_id><source_key>0</source_key><sink_key>0</sink_key></connection>
<connection><source_block_id>digital_costas_loop_cc_0</source_block_id><sink_block_id>digital_constellation_decoder_cb_0_0</sink_block_id><source_key>0</source_key><sink_key>0</sink_key></connection>
<connection><source_block_id>digital_costas_loop_cc_0</source_block_id><sink_block_id>qtgui_const_sink_x_0_0_0_1_0</sink_block_id><source_key>0</source_key><sink_key>0</sink_key></connection>
<connection><source_block_id>digital_costas_loop_cc_0</source_block_id><sink_block_id>qtgui_freq_sink_x_0_0_1</sink_block_id><source_key>0</source_key><sink_key>1</sink_key></connection>
<connection><source_block_id>digital_costas_loop_cc_0_0</source_block_id><sink_block_id>qtgui_const_sink_x_0_0_0_1_0_0</sink_block_id><source_key>0</source_key><sink_key>1</sink_key></connection>
<connection><source_block_id>digital_costas_loop_cc_0_0</source_block_id><sink_block_id>qtgui_freq_sink_x_1</sink_block_id><source_key>0</source_key><sink_key>1</sink_key></connection>
<connection><source_block_id>digital_costas_loop_cc_0_1</source_block_id><sink_block_id>qtgui_const_sink_x_0_0_0_1_0_0</sink_block_id><source_key>0</source_key><sink_key>0</sink_key></connection>
<connection><source_block_id>digital_costas_loop_cc_0_1</source_block_id><sink_block_id>qtgui_freq_sink_x_1</sink_block_id><source_key>0</source_key><sink_key>0</sink_key></connection>
<connection><source_block_id>digital_costas_loop_cc_0_2</source_block_id><sink_block_id>digital_constellation_decoder_cb_0_0_0</sink_block_id><source_key>0</source_key><sink_key>0</sink_key></connection>
<connection><source_block_id>digital_costas_loop_cc_0_2</source_block_id><sink_block_id>qtgui_const_sink_x_0_0_0_1_0_1</sink_block_id><source_key>0</source_key><sink_key>0</sink_key></connection>
<connection><source_block_id>digital_diff_decoder_bb_0</source_block_id><sink_block_id>blocks_repack_bits_bb_0</sink_block_id><source_key>0</source_key><sink_key>0</sink_key></connection>
<connection><source_block_id>digital_diff_decoder_bb_0_0</source_block_id><sink_block_id>blocks_repack_bits_bb_0_2</sink_block_id><source_key>0</source_key><sink_key>0</sink_key></connection>
<connection><source_block_id>digital_diff_encoder_bb_0</source_block_id><sink_block_id>digital_chunks_to_symbols_xx_0_0</sink_block_id><source_key>0</source_key><sink_key>0</sink_key></connection>
<connection><source_block_id>digital_pfb_clock_sync_xxx_0</source_block_id><sink_block_id>adapt_lms_filter_xx_0</sink_block_id><source_key>0</source_key><sink_key>0</sink_key></connection>
<connection><source_block_id>digital_pfb_clock_sync_xxx_0_0_0</source_block_id><sink_block_id>digital_costas_loop_cc_0</sink_block_id><source_key>0</source_key><sink_key>0</sink_key></connection>
<connection><source_block_id>digital_pfb_clock_sync_xxx_0_0_0_0</source_block_id><sink_block_id>digital_costas_loop_cc_0_2</sink_block_id><source_key>0</source_key><sink_key>0</sink_key></connection>
<connection><source_block_id>insert_vec_cpp_new_vec_0</source_block_id><sink_block_id>digital_diff_encoder_bb_0</sink_block_id><source_key>0</source_key><sink_key>0</sink_key></connection>
<connection><source_block_id>interp_fir_filter_xxx_0</source_block_id><sink_block_id>blocks_multiply_const_vxx_1</sink_block_id><source_key>0</source_key><sink_key>0</sink_key></connection>
<connection><source_block_id>interp_fir_filter_xxx_1</source_block_id><sink_block_id>blocks_multiply_const_vxx_1_0</sink_block_id><source_key>0</source_key><sink_key>0</sink_key></connection>
<connection><source_block_id>pfb_arb_resampler_xxx_0</source_block_id><sink_block_id>blocks_multiply_const_vxx_1</sink_block_id><source_key>0</source_key><sink_key>0</sink_key></connection>
<connection><source_block_id>uhd_usrp_source_0</source_block_id><sink_block_id>blocks_delay_0_0</sink_block_id><source_key>0</source_key><sink_key>0</sink_key></connection>
<connection><source_block_id>uhd_usrp_source_0</source_block_id><sink_block_id>digital_pfb_clock_sync_xxx_0</sink_block_id><source_key>0</source_key><sink_key>0</sink_key></connection>
<connection><source_block_id>uhd_usrp_source_0</source_block_id><sink_block_id>digital_pfb_clock_sync_xxx_0_0_0_0</sink_block_id><source_key>0</source_key><sink_key>0</sink_key></connection>
<connection><source_block_id>uhd_usrp_source_0</source_block_id><sink_block_id>qtgui_time_sink_x_1_1</sink_block_id><source_key>0</source_key><sink_key>0</sink_key></connection>
<connection><source_block_id>virtual_source_1</source_block_id><sink_block_id>blocks_repack_bits_bb_0_1</sink_block_id><source_key>0</source_key><sink_key>0</sink_key></connection>
<connection><source_block_id>virtual_source_2</source_block_id><sink_block_id>digital_diff_decoder_bb_0</sink_block_id><source_key>0</source_key><sink_key>0</sink_key></connection>
<connection><source_block_id>virtual_source_3</source_block_id><sink_block_id>blocks_repack_bits_bb_0_0</sink_block_id><source_key>0</source_key><sink_key>0</sink_key></connection>
</flow_graph>
